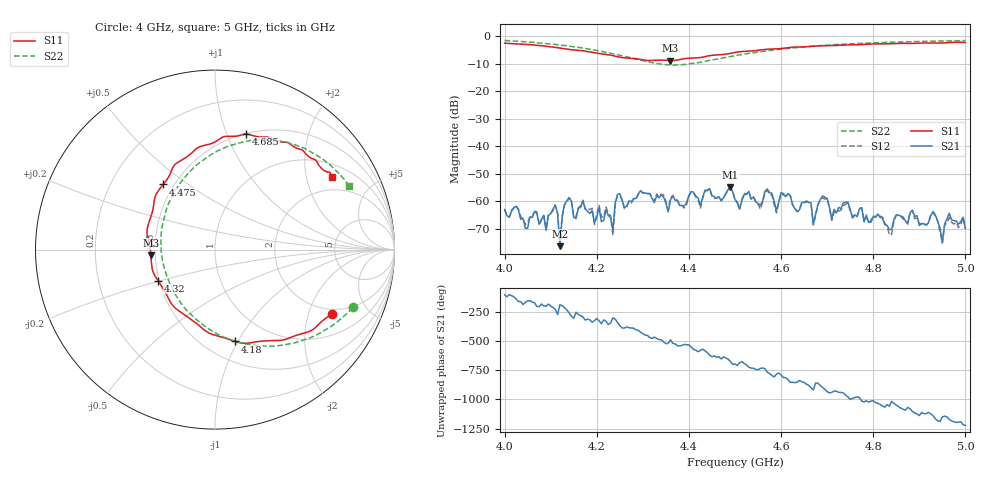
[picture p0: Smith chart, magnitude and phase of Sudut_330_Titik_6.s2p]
# Hz S RI R 50
! CMT, C1220, 16058040, 17.2.0/1
! Date: 15/08/2018 12:14:29
! Data: Format (Calibration Info)
! Freq  S11: Re/Im (F2)  S21: Re/Im (F2)  S12: Re/Im (F2)  S22: Re/Im (F2)
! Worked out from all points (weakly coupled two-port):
!   201 points, 4 GHz to 5 GHz, reference 50 ohm
!   highest |S21| = -54.90 dB at 4.49 GHz (marker M1); lowest = -76.3 dB at 4.12 GHz (marker M2)
!   lowest |S11| = -8.9 dB at 4.36 GHz (marker M3), VSWR 2.12, Z = 23.6 - j1.71 ohm
!   |S11| at or under -10 dB: nowhere
!   |S22| runs from -10.5 to -1.6 dB; largest |S21 - S12| = 0.00015
!   S11 on the Smith chart (normalised r, x): 4 GHz: 1.79, -2.87; 4.18 GHz: 0.69, -0.98; 4.32 GHz: 0.49, -0.20; 4.475 GHz: 0.44, +0.41; 4.685 GHz: 0.51, +1.17; 5 GHz: 1.45, +2.85
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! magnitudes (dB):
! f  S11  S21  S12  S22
! 4 GHz  -2.6  -63.0  -62.9  -1.6
! 4.09 GHz  -3.7  -70.5  -70.1  -2.7
! 4.11 GHz  -4.1  -61.4  -61.4  -3.1
! 4.12 GHz  -4.3  -76.3  -74.8  -3.2
! 4.13 GHz  -4.6  -61.1  -61.3  -3.4
! 4.17 GHz  -5.4  -59.9  -59.6  -4.4
! 4.18 GHz  -5.6  -63.6  -62.4  -4.6
! 4.235 GHz  -7.1  -70.4  -72.3  -6.4
! 4.245 GHz  -7.5  -57.5  -57.9  -6.8
! 4.32 GHz  -8.8  -58.9  -58.9  -9.7
! 4.335 GHz  -8.7  -58.7  -58.4  -10.1
! 4.36 GHz  -8.9  -59.4  -58.9  -10.5
! 4.475 GHz  -6.7  -58.7  -58.6  -7.9
! 4.49 GHz  -6.3  -54.9  -55.1  -7.4
! 4.5 GHz  -5.9  -59.3  -59.4  -7.1
! 4.615 GHz  -4.2  -57.1  -57.3  -4.5
! 4.67 GHz  -3.7  -68.2  -68.6  -3.7
! 4.685 GHz  -3.5  -59.3  -59.6  -3.5
! 4.835 GHz  -2.8  -70.2  -72.2  -2.3
! 4.885 GHz  -2.7  -63.3  -63.3  -2.0
! 4.95 GHz  -2.5  -74.8  -75.1  -1.8
! 5 GHz  -2.3  -69.8  -70.1  -1.6
